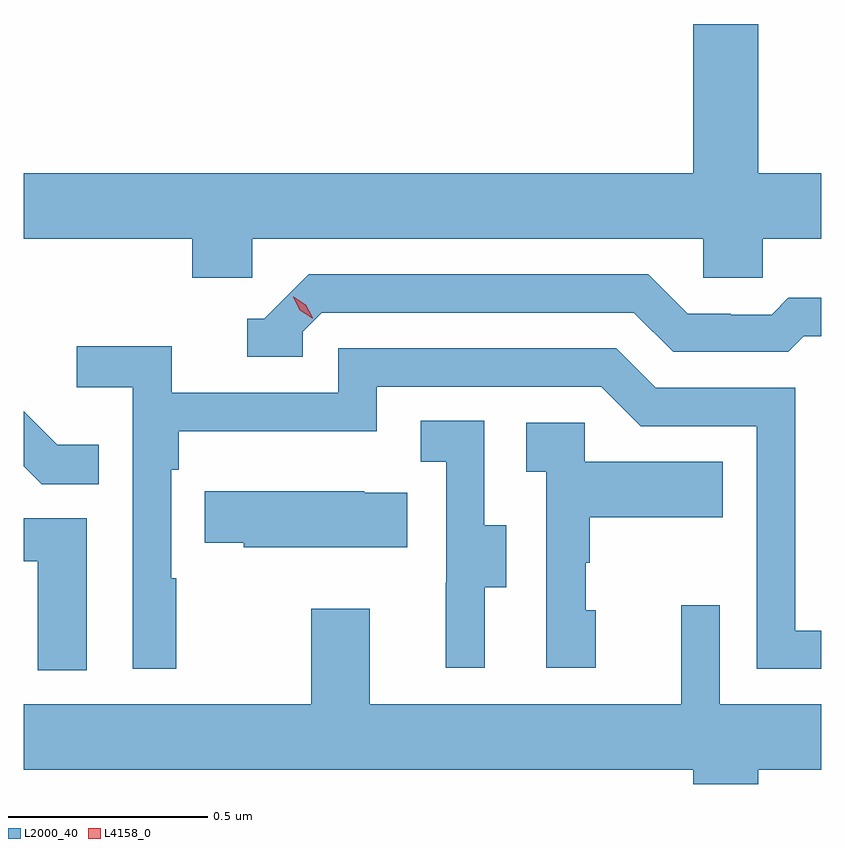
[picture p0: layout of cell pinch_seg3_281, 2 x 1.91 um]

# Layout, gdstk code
import gdstk
lib = gdstk.Library(unit=1e-6, precision=1e-09)
def P(c, l, *ps):  # polygons
    for p in ps: c.add(gdstk.Polygon(p, *l))
L2000_40 = (2000, 40)
L4158_0 = (4158, 0)

pinch_seg3_281 = lib.new_cell('pinch_seg3_281')
P(pinch_seg3_281, L2000_40, [(931.134,711.572),(932.265,711.572),(932.265,711.474),(932.415,711.474),(932.415,711.572),(932.561,711.572),(932.561,711.736),(932.404,711.736),(932.404,712.111),(932.24,712.111),(932.24,711.736),(930.561,711.736),(930.561,711.572),(930.983,711.572),(930.983,711.474),(931.134,711.474)],
  [(931.26,711.339),(931.308,711.387),(932.091,711.387),(932.19,711.288),(932.479,711.288),(932.518,711.327),(932.561,711.327),(932.561,711.424),(932.479,711.424),(932.437,711.381),(932.334,711.381),(932.334,711.384),(932.227,711.384),(932.128,711.483),(931.275,711.483),(931.164,711.372),(931.121,711.372),(931.121,711.276),(931.26,711.276)],
  [(930.943,710.72),(930.93,710.72),(930.93,710.993),(930.95,710.993),(930.95,711.089),(931.446,711.089),(931.446,711.201),(932.01,711.201),(932.109,711.102),(932.4,711.102),(932.4,710.493),(932.561,710.493),(932.561,710.589),(932.496,710.589),(932.496,711.198),(932.146,711.198),(932.047,711.297),(931.35,711.297),(931.35,711.186),(930.932,711.186),(930.932,711.302),(930.693,711.302),(930.693,711.2),(930.834,711.2),(930.834,710.493),(930.943,710.493)],
  [(930.749,711.055),(930.645,711.055),(930.561,711.139),(930.561,711.001),(930.606,710.956),(930.749,710.956)],
  [(931.717,710.698),(931.771,710.698),(931.771,710.853),(931.716,710.853),(931.716,711.116),(931.557,711.116),(931.557,711.013),(931.62,711.013),(931.62,710.709),(931.619,710.709),(931.619,710.496),(931.717,710.496)],
  [(931.996,710.64),(931.971,710.64),(931.971,710.759),(931.981,710.759),(931.981,710.873),(932.315,710.873),(932.315,711.013),(931.968,711.013),(931.968,711.111),(931.821,711.111),(931.821,710.987),(931.872,710.987),(931.872,710.496),(931.996,710.496)],
  [(931.523,710.935),(931.415,710.935),(931.415,710.938),(931.015,710.938),(931.015,710.809),(931.113,710.809),(931.113,710.798),(931.523,710.798)],
  [(930.718,710.871),(930.561,710.871),(930.561,710.763),(930.596,710.763),(930.596,710.489),(930.718,710.489)],
  [(932.404,710.24),(932.561,710.24),(932.561,710.404),(932.307,710.404),(932.307,710.653),(932.21,710.653),(932.21,710.404),(931.429,710.404),(931.429,710.644),(931.282,710.644),(931.282,710.404),(930.561,710.404),(930.561,710.24),(932.24,710.24),(932.24,710.204),(932.404,710.204)])
P(pinch_seg3_281, L4158_0, [(931.284,711.373),(931.253,711.393),(931.237,711.425),(931.237,711.426),(931.238,711.426),(931.268,711.406),(931.285,711.374),(931.285,711.373)])

lib.write_gds('pinch_seg3_281.gds')
